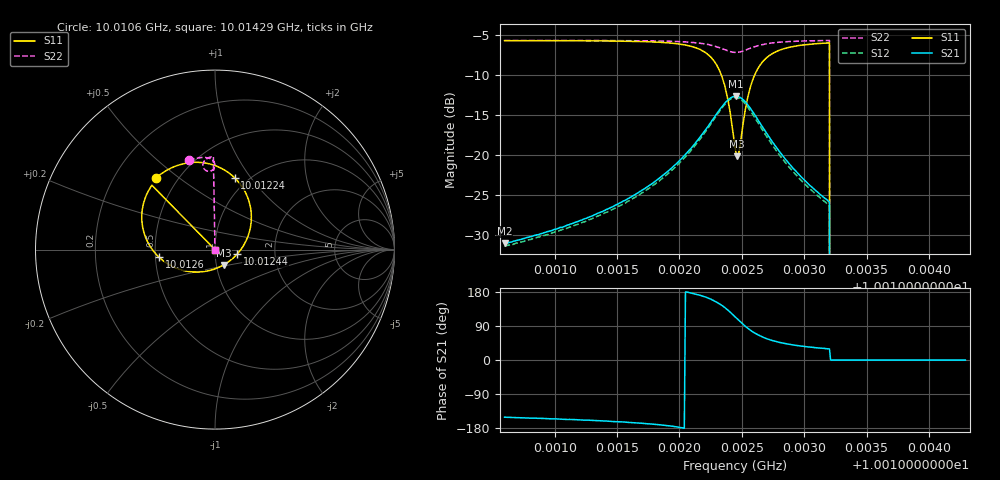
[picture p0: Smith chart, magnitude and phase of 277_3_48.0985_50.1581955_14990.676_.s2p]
#  HZ  S  RI  R  50.00
! Rohde & Schwarz Vector Network Analyzer
! Rohde-Schwarz,ZNB20-2Port,1311601062101988,3.16
! Created: UTC 12/23/2023, 4:02:23 AM
! freq[Hz]  re:S11  im:S11  re:S21  im:S21  re:S12  im:S12  re:S22  im:S22
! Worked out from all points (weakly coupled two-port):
!   401 points, 10.0106 GHz to 10.01429 GHz, reference 50 ohm
!   highest |S21| = -12.66 dB at 10.01245 GHz (marker M1); lowest = -31.1 dB at 10.0106 GHz (marker M2)
!   lowest |S11| = -20.2 dB at 10.01246 GHz (marker M3), VSWR 1.22, Z = 54.3 - j9.31 ohm
!   |S11| at or under -10 dB: 10.01234 GHz to 10.0126 GHz (267.6 kHz wide, 0.00267 % of centre); 10.0132 GHz to end of sweep
!   |S22| runs from - to -5.7 dB; largest |S21 - S12| = 0.011
!   S11 on the Smith chart (normalised r, x): 10.0106 GHz: 0.38, +0.41; 10.01224 GHz: 0.87, +0.84; 10.01244 GHz: 1.28, -0.07; 10.0126 GHz: 0.52, -0.05; 10.01429 GHz: 1.00, +0.00
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1.0010598e10  -0.3303 0.3992  -0.0244 -0.0136  -0.0228 -0.0142  -0.1447 0.499
1.0011217e10  -0.2731 0.4395  -0.0364 -0.0144  -0.0342 -0.0158  -0.1026 0.5095
1.0011836e10  -0.1547 0.4826  -0.0702 -0.0112  -0.067 -0.0146  -0.0525 0.5129
1.0012094e10  -0.0272 0.4768  -0.1101 0.00614  -0.107 4.51e-05  -0.0241 0.5056
1.0012242e10  0.1091 0.4006  -0.1486 0.049  -0.1473 0.0394  -0.00534 0.488
1.0012353e10  0.2017 0.2044  -0.1601 0.13  -0.1631 0.12  -0.00262 0.4582
1.001239e10  0.1928 0.1032  -0.1454 0.1664  -0.1493 0.1584  -0.00982 0.4467
1.0012436e10  0.1225 -0.0263  -0.1052 0.2068  -0.1111 0.199  -0.0256 0.4373
1.0012445e10  0.101 -0.0475  -0.0951 0.2123  -0.1017 0.2044  -0.0289 0.4367
1.0012454e10  0.0773 -0.0665  -0.0845 0.217  -0.0897 0.2098  -0.0331 0.4362
1.0012464e10  0.0491 -0.0849  -0.0726 0.2207  -0.0785 0.2135  -0.0369 0.4362
1.0012482e10  -0.00697 -0.11  -0.05 0.2241  -0.0544 0.2176  -0.0445 0.4379
1.0012519e10  -0.1212 -0.1246  -0.00598 0.2182  -0.0114 0.2118  -0.057 0.4456
1.0012556e10  -0.2222 -0.1008  0.0297 0.1997  0.023 0.1938  -0.0645 0.4563
1.0012602e10  -0.3124 -0.0419  0.0571 0.1697  0.0498 0.1648  -0.0676 0.4702
1.0012685e10  -0.3894 0.0749  0.0751 0.12  0.0676 0.1172  -0.0626 0.4894
1.0012805e10  -0.4077 0.1968  0.072 0.075  0.0655 0.0744  -0.049 0.5048
1.0013064e10  -0.3727 0.3239  0.0522 0.0347  0.0481 0.0352  -0.0215 0.5169
1.0013184e10  -0.3542 0.3548  0.0453 0.0259  0.0417 0.0268  -0.0107 0.5193
1.001323e10  0 0  0 0  0 0  0 0
1.0013682e10  0 0  0 0  0 0  0 0
1.0014292e10  0 0  0 0  0 0  0 0
